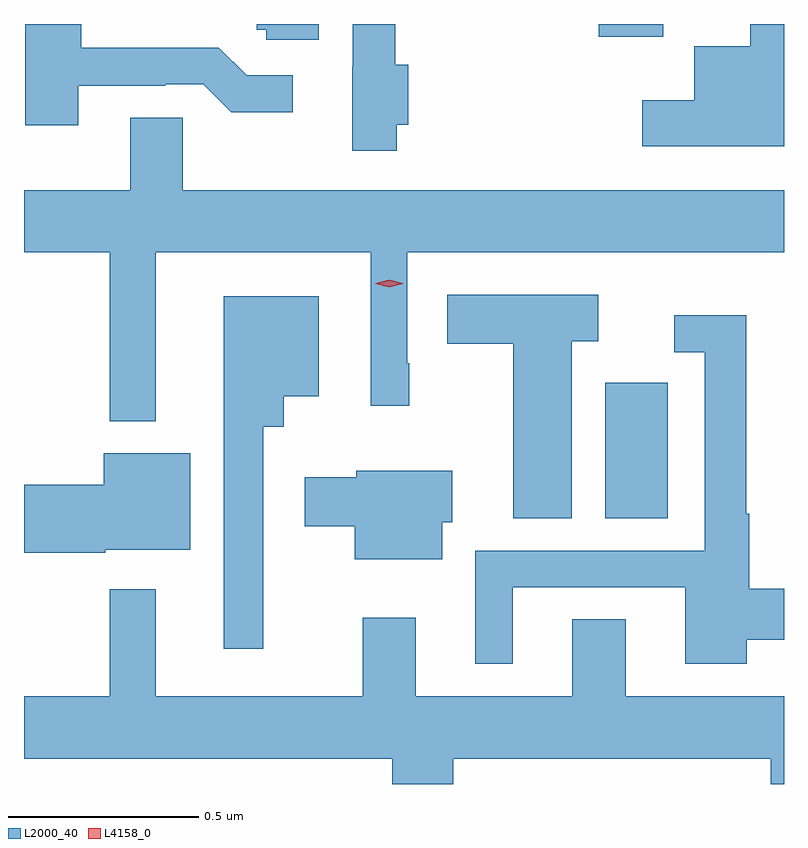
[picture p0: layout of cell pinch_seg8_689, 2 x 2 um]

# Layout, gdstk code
import gdstk
lib = gdstk.Library(unit=1e-6, precision=1e-09)
def R(c, l, rs):  # rectangles x0, y0, x1, y1
    for r in rs: c.add(gdstk.rectangle(r[:2], r[2:], *l))
def P(c, l, *ps):  # polygons
    for p in ps: c.add(gdstk.Polygon(p, *l))
L2000_40 = (2000, 40)
L4158_0 = (4158, 0)

pinch_seg8_689 = lib.new_cell('pinch_seg8_689')
R(pinch_seg8_689, L2000_40, [(246.38,1113.136,246.544,1113.493), (246.362,1114.404,246.532,1114.437)])
P(pinch_seg8_689, L2000_40, [(245.831,1114.172),(245.861,1114.172),(245.861,1114.33),(245.827,1114.33),(245.827,1114.437),(245.715,1114.437),(245.715,1114.326),(245.714,1114.326),(245.714,1114.104),(245.831,1114.104)],
  [(245.626,1114.437),(245.462,1114.437),(245.462,1114.422),(245.487,1114.422),(245.487,1114.395),(245.626,1114.395)],
  [(246.85,1114.437),(246.761,1114.437),(246.761,1114.378),(246.614,1114.378),(246.614,1114.237),(246.477,1114.237),(246.477,1114.115),(246.85,1114.115)],
  [(244.993,1114.275),(245.222,1114.275),(245.222,1114.278),(245.322,1114.278),(245.395,1114.205),(245.557,1114.205),(245.557,1114.302),(245.436,1114.302),(245.363,1114.375),(245.001,1114.375),(245.001,1114.437),(244.853,1114.437),(244.853,1114.17),(244.993,1114.17)],
  [(245.197,1113.836),(245.762,1113.836),(245.762,1113.432),(245.864,1113.432),(245.864,1113.544),(245.859,1113.544),(245.859,1113.836),(246.85,1113.836),(246.85,1114),(245.268,1114),(245.268,1114.19),(245.129,1114.19),(245.129,1114),(244.85,1114),(244.85,1113.836),(245.076,1113.836),(245.076,1113.392),(245.197,1113.392)],
  [(246.292,1113.602),(246.361,1113.602),(246.361,1113.724),(245.964,1113.724),(245.964,1113.595),(246.137,1113.595),(246.137,1113.136),(246.292,1113.136)],
  [(245.479,1113.377),(245.533,1113.377),(245.533,1113.458),(245.626,1113.458),(245.626,1113.721),(245.375,1113.721),(245.375,1112.793),(245.479,1112.793)],
  [(246.136,1112.955),(246.59,1112.955),(246.59,1112.754),(246.752,1112.754),(246.752,1112.816),(246.85,1112.816),(246.85,1112.951),(246.758,1112.951),(246.758,1113.148),(246.751,1113.148),(246.751,1113.67),(246.561,1113.67),(246.561,1113.573),(246.642,1113.573),(246.642,1113.051),(246.038,1113.051),(246.038,1112.754),(246.136,1112.754)],
  [(245.064,1113.053),(245.287,1113.053),(245.287,1113.307),(245.06,1113.307),(245.06,1113.224),(244.85,1113.224),(244.85,1113.046),(245.064,1113.046)],
  [(245.95,1113.126),(245.977,1113.126),(245.977,1113.262),(245.724,1113.262),(245.724,1113.244),(245.589,1113.244),(245.589,1113.115),(245.72,1113.115),(245.72,1113.029),(245.95,1113.029)],
  [(245.979,1112.504),(246.815,1112.504),(246.815,1112.437),(246.85,1112.437),(246.85,1112.668),(246.433,1112.668),(246.433,1112.87),(246.293,1112.87),(246.293,1112.668),(245.881,1112.668),(245.881,1112.875),(245.741,1112.875),(245.741,1112.668),(245.197,1112.668),(245.197,1112.95),(245.076,1112.95),(245.076,1112.668),(244.85,1112.668),(244.85,1112.504),(245.819,1112.504),(245.819,1112.437),(245.979,1112.437)])
P(pinch_seg8_689, L4158_0, [(245.811,1113.744),(245.775,1113.754),(245.775,1113.754),(245.775,1113.755),(245.811,1113.764),(245.847,1113.755),(245.847,1113.754),(245.847,1113.754)])

lib.write_gds('pinch_seg8_689.gds')
